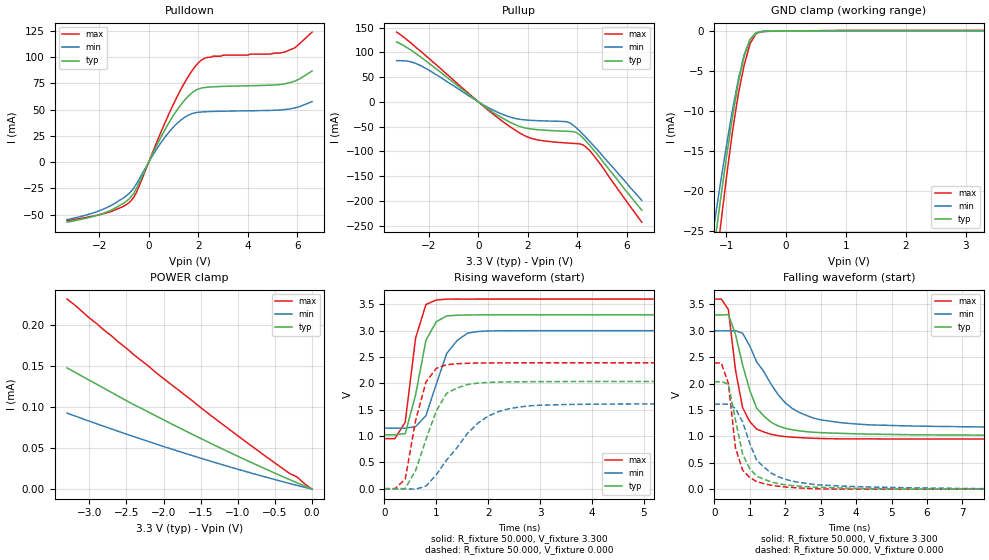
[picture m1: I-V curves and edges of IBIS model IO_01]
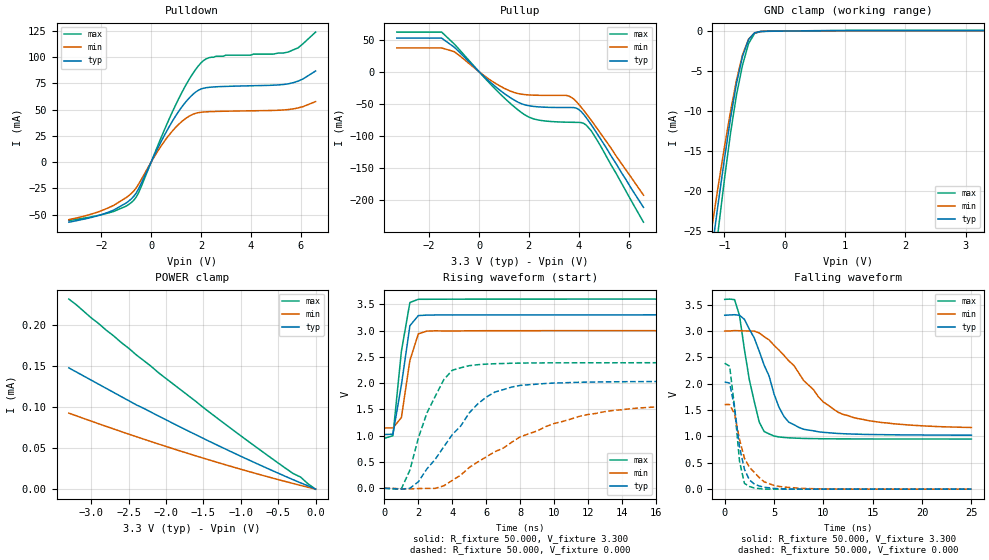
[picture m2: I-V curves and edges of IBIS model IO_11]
| / 7\'7   Xilinx XC9500XL I/O Buffer IBIS File
| \ \   Xilinx Inc.
| / /   2100 Logic Drive
| \_\/.\   San Jose,   CA 95124
[IBIS ver]   3.2
[File name]   dasl2p.ibs
[File Rev]   2.6
[Date]   Sun Feb 12 20:26:41 2006
[Source]   Spice netlist
[Notes]   - max/min process data included in this ibis model
   - Control flag setting:
   SLW=0 - fast slew rate
   SLW=1 - slow slew rate
   VIO=0 - 2.5V Vddio
   VIO=1 - 3.3V Vddio
   NOTE: This file is compliant with IBIS Version 3.2, but it
   may not implement all approved 3.2 features.
   NOTE:  Newer versions of the buffer models may be available.
   Check the web (http://www.xilinx.com/support/sw_ibis.htm) for
   the latest file revision.  However, please be aware that the
   web files are not compatible for use with IBISWriter, and
   must be manually annotated, should their use be preferred.
[Disclaimer] The data in this model is derived from SPICE simulations
                 using modeling information extracted from the target pro-
                 cess. While a great deal of care has been take to provide
                 information that is accurate, this model is considered
                 preliminary as it has not been verified by actual silicon
                 measurement. Treat the data in this model as preliminary
                 until actual silicon verification is performed.
[Copyright]   Xilinx Inc.
|   Component XC9500XL
[Component]   XC9500XL
[Manufacturer]   Xilinx Inc.
[Package]
| For Package Type vq64
| variable   typ   min   max
R_pkg   0.064150   0.060200   0.068100
L_pkg   2.900nH   2.600nH   3.200nH
C_pkg   0.380pF   0.360pF   0.400pF
[Pin]  signal_name   model_name   R_pin   L_pin   C_pin
15   CLK_16M   IO_11
64   RESETn   IO_11
35   IOSTRn   IO_11
36   R_Wn   IO_11
13   DSP_A<1>   IO_11
16   DSP_A<0>   IO_11
12   DSP_A<2>   IO_11
43   DR<0>   IO_11
59   DR<1>   IO_11
2   CINTn   IO_11
63   COUT   IO_11
5   BR<1>   IO_11
27   DSP_BX<0>   IO_11
47   BR<0>   IO_11
19   DSP_BX<1>   IO_11
40   LEDG<0>   IO_01
57   LEDG<1>   IO_01
8   FSb<1>   IO_01
61   CCLK   IO_01
45   CCSn<0>   IO_01
62   CCSn<1>   IO_01
1   CIN   IO_01
39   LEDY<0>   IO_01
56   LEDY<1>   IO_01
50   FSb<0>   IO_01
51   FSa<0>   IO_01
11   TST_M_Sn   IO_01
46   MCLK<0>   IO_01
38   TST_FS   IO_01
9   FSa<1>   IO_01
48   BX<0>   IO_01
6   BX<1>   IO_01
32   DSP_BCLK<0>   IO_01
22   DSP_BCLK<1>   IO_01
31   DSP_BFS<0>   IO_01
20   DSP_BFS<1>   IO_01
25   DSP_INTn<0>   IO_01
24   DSP_INTn<1>   IO_01
42   DX<0>   IO_01
58   DX<1>   IO_01
4   MCLK<1>   IO_01
33   DSP_BR<0>   IO_01
34   DSP_BR<1>   IO_01
23   DSP_INTn3   IO_01
44   DCLK<0>   IO_01
49   BCLK<0>   IO_01
60   DCLK<1>   IO_01
7   BCLK<1>   IO_01
18   DSP_D<0>   IO_01
17   DSP_D<1>   IO_01
10   FSc<1>   IO_01
52   FSc<0>   IO_01
| Models and submodels in the file (2): IO_01 (I/O), IO_11 (I/O)
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|   Model IO_01
[Model]   IO_01
Model_type   I/O
Polarity   Inverting
Enable   Active-High
Vinl =   0.800V
Vinh =   2.000V
Vmeas =   1.650V
Cref =  35.000pF
Rref =   169.00
Vref =  1.750V
C_comp   6.700pF   5.700pF   7.600pF
[Temperature Range]   50.000   100.000   0.000
[Voltage Range]   3.300V   3.000V   3.600V
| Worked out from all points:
|   slope of the pulldown table from 0 to 0.495 V, typ, clamps not added: 20.7 ohm
|   slope of the pullup table from 0 to 0.495 V, typ, clamps not added: 27.8 ohm
|   GND clamp passes 1 mA (typ) near -0.59 V on its own axis
|   rising waveform, R_fixture 50.000, V_fixture 3.300: 20-80 % time 297ps typ, 408ps min, 239ps max; typ from 1.02 V to 3.3 V
|   rising waveform, R_fixture 50.000, V_fixture 0.000: 20-80 % time 469ps typ, 827ps min, 316ps max; typ from 0 V to 2.04 V
|   falling waveform, R_fixture 50.000, V_fixture 3.300: 20-80 % time 642ps typ, 1.14ns min, 392ps max; typ from 3.3 V to 1.02 V
|   falling waveform, R_fixture 50.000, V_fixture 0.000: 20-80 % time 482ps typ, 780ps min, 329ps max; typ from 2.04 V to 0 V
[Pulldown]
| voltage   I(typ)   I(min)   I(max)
-3.3V     -57.2mA    -54.8mA    -55.7mA
-1.7V     -47.57mA   -43.39mA   -48.32mA
-700mV    -32.66mA   -27.57mA   -36.39mA
-500mV    -25.26mA   -20.88mA   -29mA
300mV     14.82mA    11.72mA    17.61mA
900mV     40.85mA    30.95mA    50.29mA
1.6V      62.9mA     44.78mA    81.73mA
2.1V      70.46mA    47.8mA     96.79mA
3V        72.23mA    48.59mA    102mA
5.5V      74.68mA    50.15mA    105mA
5.9V      77.27mA    51.71mA    109mA
6.6V      86.93mA    57.76mA    124mA
[Pullup]
| voltage   I(typ)   I(min)   I(max)
-3.3V     121mA      83.26mA    141mA
-2.7V     104mA      80.56mA    118mA
-2.3V     89.33mA    72.44mA    101mA
300mV     -11.04mA   -8.824mA   -12.73mA
1.5V      -46.27mA   -33.63mA   -57.51mA
1.9V      -52.76mA   -36.44mA   -68.97mA
2.3V      -55.67mA   -37.72mA   -75.79mA
3.7V      -59.69mA   -42.64mA   -83.42mA
4V        -63.32mA   -54.46mA   -84.35mA
4.2V      -71.44mA   -64.25mA   -86.4mA
4.5V      -87.94mA   -80.06mA   -98.42mA
6.6V      -219mA     -199mA     -243mA
[GND_clamp]
| voltage   I(typ)   I(min)   I(max)
-3.3V     -155mA     -140mA     -172mA
-1.2V     -26.97mA   -24.12mA   -31.21mA
-1.1V     -21.35mA   -19.21mA   -24.73mA
-1V       -15.97mA   -14.5mA    -18.53mA
-900mV    -10.95mA   -10.08mA   -12.81mA
-800mV    -6.54mA    -6.125mA   -7.981mA
-700mV    -3.156mA   -2.96mA    -4.255mA
-600mV    -1.062mA   -1.009mA   -1.564mA
-500mV    -216uA     -233uA     -293uA
-400mV    -48.58uA   -49.49uA   -64.66uA
200mV     12.56uA    7.341uA    21.34uA
3.3V      50.69uA    25.89uA    95.26uA
[POWER_clamp]
| voltage   I(typ)   I(min)   I(max)
-3.3V     148uA      92.8uA     232uA
-2.4V     103uA      64.12uA    164uA
-1.5V     61.88uA    37.81uA    99.54uA
-500mV    19.51uA    11.69uA    31.91uA
-300mV    11.57uA    6.9uA      19.07uA
-200mV    7.689uA    4.565uA    14.73uA
-100mV    4uA        2.274uA    6.481uA
0V        1.628nA    6.511nA    380pA
[Ramp]
| variable   typ   min   max
dV/dt_r   1.221/0.443n   0.967/0.760n   1.433/0.321n
dV/dt_f   1.366/0.616n   1.101/1.088n   1.589/0.410n
R_load = 50.000
[Rising Waveform]
R_fixture = 50.000
V_fixture = 3.300
V_fixture_min = 3.000
V_fixture_max = 3.600
L_fixture = 0.000H
C_fixture = 0.000F
| time   V(typ)   V(min)   V(max)
0s        1.023V     1.148V     951mV
200ps     1.023V     1.148V     949mV
400ps     1.044V     1.148V     1.262V
600ps     1.779V     1.178V     2.859V
800ps     2.818V     1.386V     3.496V
1ns       3.169V     1.985V     3.581V
1.2ns     3.279V     2.566V     3.598V
1.6ns     3.297V     2.951V     3.598V
1.8ns     3.299V     2.983V     3.599V
10ns      3.299V     3V         3.599V
[Rising Waveform]
R_fixture = 50.000
V_fixture = 0.000
V_fixture_min = 0.000
V_fixture_max = 0.000
L_fixture = 0.000H
C_fixture = 0.000F
| time   V(typ)   V(min)   V(max)
0s        0V         0V         0V
200ps     -298uV     110uV      -3.088mV
400ps     1.188mV    -1.293mV   181mV
600ps     345mV      -9.507mV   1.291V
800ps     933mV      48.75mV    2.024V
1ns       1.477V     263mV      2.284V
1.2ns     1.811V     546mV      2.353V
1.8ns     2.004V     1.242V     2.385V
2.6ns     2.029V     1.549V     2.389V
10ns      2.035V     1.611V     2.389V
[Falling Waveform]
R_fixture = 50.000
V_fixture = 3.300
V_fixture_min = 3.000
V_fixture_max = 3.600
L_fixture = 0.000H
C_fixture = 0.000F
| time   V(typ)   V(min)   V(max)
0s        3.3V       3V         3.6V
200ps     3.299V     2.999V     3.602V
400ps     3.309V     3.001V     3.403V
600ps     2.934V     3.003V     2.257V
800ps     2.357V     2.955V     1.547V
1.2ns     1.532V     2.409V     1.136V
1.6ns     1.27V      1.992V     1.039V
2ns       1.154V     1.638V     997mV
3ns       1.071V     1.314V     960mV
10ns      1.023V     1.165V     951mV
[Falling Waveform]
R_fixture = 50.000
V_fixture = 0.000
V_fixture_min = 0.000
V_fixture_max = 0.000
L_fixture = 0.000H
C_fixture = 0.000F
| time   V(typ)   V(min)   V(max)
0s        2.035V     1.611V     2.389V
200ps     2.036V     1.611V     2.391V
400ps     1.992V     1.61V      2.003V
600ps     1.311V     1.528V     779mV
800ps     669mV      1.276V     362mV
1ns       391mV      871mV      223mV
1.2ns     244mV      546mV      141mV
1.8ns     105mV      236mV      56.13mV
2.8ns     40.08mV    90.65mV    9.067mV
10ns      30.04uV    1.855mV    -12.44uV
|   Model IO_11
[Model]   IO_11
Model_type   I/O
Polarity   Inverting
Enable   Active-High
Vinl =   0.800V
Vinh =   2.000V
Vmeas =   1.650V
Cref =  35.000pF
Rref =   169.0
Vref =  1.750V
C_comp   6.700pF   5.700pF   7.600pF
[Temperature Range]   50.000   100.000   0.000
[Voltage Range]   3.300V   3.000V   3.600V
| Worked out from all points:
|   slope of the pulldown table from 0 to 0.495 V, typ, clamps not added: 20.7 ohm
|   slope of the pullup table from 0 to 0.495 V, typ, clamps not added: 27.8 ohm
|   GND clamp passes 1 mA (typ) near -0.59 V on its own axis
|   rising waveform, R_fixture 50.000, V_fixture 3.300: 20-80 % time 650ps typ, 615ps min, 600ps max; typ from 1.02 V to 3.3 V
|   rising waveform, R_fixture 50.000, V_fixture 0.000: 20-80 % time 2.98ns typ, 5.86ns min, 1.64ns max; typ from 0 V to 2.03 V
|   falling waveform, R_fixture 50.000, V_fixture 3.300: 20-80 % time 2.67ns typ, 5.37ns min, 1.56ns max; typ from 3.3 V to 1.02 V
|   falling waveform, R_fixture 50.000, V_fixture 0.000: 20-80 % time 1.06ns typ, 1.84ns min, 790ps max; typ from 2.03 V to 0 V
[Pulldown]
| voltage   I(typ)   I(min)   I(max)
-3.3V     -57.2mA    -54.8mA    -55.7mA
-1.7V     -47.57mA   -43.39mA   -48.32mA
-700mV    -32.66mA   -27.57mA   -36.39mA
-500mV    -25.26mA   -20.88mA   -29mA
300mV     14.82mA    11.72mA    17.61mA
900mV     40.85mA    30.95mA    50.29mA
1.6V      62.9mA     44.78mA    81.73mA
2.1V      70.46mA    47.8mA     96.79mA
3V        72.23mA    48.59mA    102mA
5.5V      74.68mA    50.15mA    105mA
5.9V      77.27mA    51.71mA    109mA
6.6V      86.93mA    57.76mA    124mA
[Pullup]
| voltage   I(typ)   I(min)   I(max)
-3.3V     52.16mA    36.93mA    61.56mA
-1.5V     52.16mA    36.93mA    61.56mA
-1V       38.26mA    31.19mA    43.28mA
700mV     -24.52mA   -19.08mA   -28.86mA
1.3V      -41.51mA   -30.8mA    -50.84mA
1.8V      -51.09mA   -35.45mA   -66.17mA
2.4V      -54.73mA   -36.71mA   -75.27mA
3.7V      -55.72mA   -39.77mA   -78.66mA
4V        -58.7mA    -50.64mA   -78.84mA
4.2V      -66.4mA    -60.11mA   -80.39mA
4.5V      -82.32mA   -75.47mA   -91.71mA
6.6V      -211mA     -192mA     -234mA
[GND_clamp]
| voltage   I(typ)   I(min)   I(max)
-3.3V     -155mA     -140mA     -172mA
-1.2V     -26.97mA   -24.12mA   -31.21mA
-1.1V     -21.35mA   -19.21mA   -24.73mA
-1V       -15.97mA   -14.5mA    -18.53mA
-900mV    -10.95mA   -10.08mA   -12.81mA
-800mV    -6.54mA    -6.125mA   -7.981mA
-700mV    -3.156mA   -2.96mA    -4.255mA
-600mV    -1.062mA   -1.009mA   -1.564mA
-500mV    -216uA     -233uA     -293uA
-400mV    -48.58uA   -49.49uA   -64.66uA
200mV     12.56uA    7.341uA    21.34uA
3.3V      50.69uA    25.89uA    95.26uA
[POWER_clamp]
| voltage   I(typ)   I(min)   I(max)
-3.3V     148uA      92.8uA     232uA
-2.4V     103uA      64.12uA    164uA
-1.5V     61.88uA    37.81uA    99.54uA
-500mV    19.51uA    11.69uA    31.91uA
-300mV    11.57uA    6.9uA      19.07uA
-200mV    7.689uA    4.565uA    14.73uA
-100mV    4uA        2.274uA    6.481uA
0V        1.628nA    6.511nA    380pA
[Ramp]
| variable   typ   min   max
dV/dt_r   1.220/2.872n   0.961/5.818n   1.433/1.570n
dV/dt_f   1.365/2.644n   1.098/5.232n   1.589/1.447n
R_load = 50.000
[Rising Waveform]
R_fixture = 50.000
V_fixture = 3.300
V_fixture_min = 3.000
V_fixture_max = 3.600
L_fixture = 0.000H
C_fixture = 0.000F
| time   V(typ)   V(min)   V(max)
0s        1.023V     1.148V     951mV
500ps     1.029V     1.148V     1V
1ns       1.967V     1.346V     2.608V
1.5ns     3.093V     2.432V     3.534V
2ns       3.286V     2.939V     3.596V
2.5ns     3.295V     2.99V      3.596V
3ns       3.297V     2.996V     3.597V
25ns      3.3V       3V         3.6V
[Rising Waveform]
R_fixture = 50.000
V_fixture = 0.000
V_fixture_min = 0.000
V_fixture_max = 0.000
L_fixture = 0.000H
C_fixture = 0.000F
| time   V(typ)   V(min)   V(max)
0s        0V         0V         0V
1ns       -16.94mV   -12.49mV   -8.235mV
1.5ns     -699uV     -12.09mV   345mV
2.5ns     367mV      -2.934mV   1.429V
3.5ns     790mV      47.81mV    2.067V
4ns       1.021V     150mV      2.246V
6ns       1.733V     597mV      2.362V
8ns       1.957V     978mV      2.382V
13.5ns    2.026V     1.481V     2.388V
25ns      2.033V     1.6V       2.389V
[Falling Waveform]
R_fixture = 50.000
V_fixture = 3.300
V_fixture_min = 3.000
V_fixture_max = 3.600
L_fixture = 0.000H
C_fixture = 0.000F
| time   V(typ)   V(min)   V(max)
0s        3.3V       3V         3.6V
1ns       3.31V      3.009V     3.596V
1.5ns     3.3V       3.006V     3.296V
2.5ns     3.034V     3.002V     2.073V
3.5ns     2.617V     2.964V     1.272V
4ns       2.352V     2.893V     1.093V
6ns       1.381V     2.54V      981mV
8ns       1.137V     2.061V     962mV
13ns      1.045V     1.361V     953mV
25ns      1.025V     1.17V      951mV
[Falling Waveform]
R_fixture = 50.000
V_fixture = 0.000
V_fixture_min = 0.000
V_fixture_max = 0.000
L_fixture = 0.000H
C_fixture = 0.000F
| time   V(typ)   V(min)   V(max)
0s        2.033V     1.606V     2.389V
500ps     2.013V     1.606V     2.334V
1ns       1.543V     1.428V     1.557V
1.5ns     803mV      946mV      530mV
2ns       379mV      588mV      110mV
2.5ns     176mV      417mV      51.47mV
3ns       96.85mV    320mV      21.28mV
4ns       36.01mV    140mV      471uV
6ns       4.294mV    41.14mV    435uV
25ns      22.25uV    106uV      1.861uV
